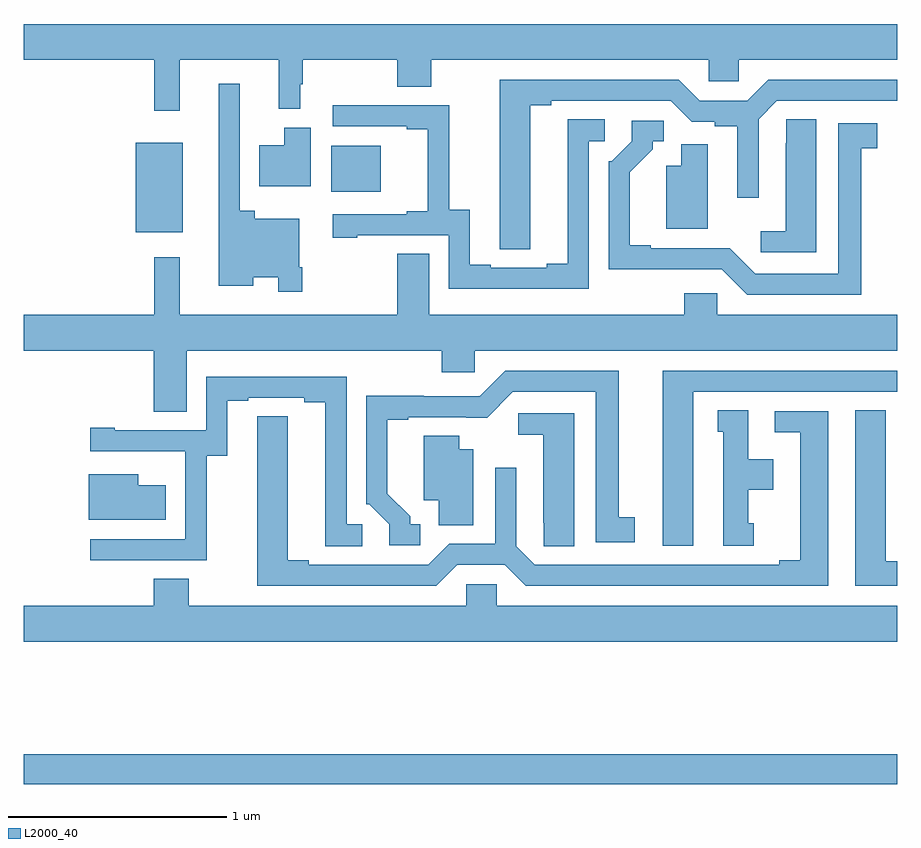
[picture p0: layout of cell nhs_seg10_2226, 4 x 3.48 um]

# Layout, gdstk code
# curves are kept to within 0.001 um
import gdstk
lib = gdstk.Library(unit=1e-6, precision=1e-09)
def R(c, l, rs):  # rectangles x0, y0, x1, y1
    for r in rs: c.add(gdstk.rectangle(r[:2], r[2:], *l))
def P(c, l, *ps):  # polygons
    for p in ps: c.add(gdstk.Polygon(p, *l))
L2000_40 = (2000, 40)

nhs_seg10_2226 = lib.new_cell('nhs_seg10_2226')
R(nhs_seg10_2226, L2000_40, [(229,1300.996,233,1301.132), (229.514,1303.523,229.729,1303.933), (230.408,1303.709,230.635,1303.918)])
P(nhs_seg10_2226, L2000_40, [(229.715,1304.312),(230.168,1304.312),(230.168,1304.087),(230.266,1304.087),(230.266,1304.2),(230.278,1304.2),(230.278,1304.312),(230.71,1304.312),(230.71,1304.188),(230.865,1304.188),(230.865,1304.312),(232.137,1304.312),(232.137,1304.214),(232.275,1304.214),(232.275,1304.312),(233,1304.312),(233,1304.476),(229,1304.476),(229,1304.312),(229.597,1304.312),(229.597,1304.079),(229.715,1304.079)],
  [(231.319,1304.104),(231.415,1304.104),(231.415,1304.124),(231.963,1304.124),(232.059,1304.028),(232.164,1304.028),(232.164,1304.008),(232.268,1304.008),(232.268,1303.68),(232.365,1303.68),(232.365,1304.04),(232.449,1304.124),(233,1304.124),(233,1304.22),(232.409,1304.22),(232.313,1304.124),(232.095,1304.124),(231.999,1304.22),(231.179,1304.22),(231.18,1303.444),(231.319,1303.444)],
  [(230.275,1303.363),(230.262,1303.363),(230.262,1303.585),(230.058,1303.585),(230.058,1303.621),(229.989,1303.621),(229.989,1304.203),(229.892,1304.203),(229.892,1303.277),(230.05,1303.277),(230.05,1303.316),(230.166,1303.316),(230.166,1303.251),(230.275,1303.251)],
  [(231.588,1303.938),(231.661,1303.938),(231.661,1304.039),(231.491,1304.039),(231.491,1303.379),(231.395,1303.379),(231.395,1303.359),(231.139,1303.359),(231.139,1303.374),(231.043,1303.374),(231.043,1303.625),(230.949,1303.625),(230.949,1304.103),(230.415,1304.103),(230.415,1304.007),(230.753,1304.007),(230.753,1303.995),(230.849,1303.995),(230.849,1303.618),(230.753,1303.618),(230.753,1303.605),(230.415,1303.605),(230.415,1303.497),(230.527,1303.497),(230.527,1303.509),(230.946,1303.509),(230.946,1303.263),(231.588,1303.263)],
  [(232.63,1304.039),(232.491,1304.039),(232.491,1303.931),(232.49,1303.931),(232.49,1303.528),(232.374,1303.528),(232.374,1303.431),(232.63,1303.431)],
  [(232.834,1303.906),(232.909,1303.906),(232.909,1304.022),(232.73,1304.022),(232.73,1303.332),(232.35,1303.332),(232.233,1303.449),(231.871,1303.449),(231.871,1303.462),(231.775,1303.462),(231.775,1303.798),(231.88,1303.903),(231.88,1303.938),(231.93,1303.938),(231.93,1304.034),(231.783,1304.034),(231.783,1303.938),(231.693,1303.848),(231.678,1303.848),(231.678,1303.352),(232.197,1303.353),(232.314,1303.236),(232.834,1303.236)],
  [(230.314,1304.002),(230.192,1304.002),(230.192,1303.921),(230.078,1303.921),(230.078,1303.733),(230.314,1303.733)],
  [(232.132,1303.926),(232.01,1303.926),(232.01,1303.828),(231.941,1303.828),(231.941,1303.538),(232.132,1303.538)],
  [(229.747,1302.98),(230.915,1302.98),(230.915,1302.882),(231.066,1302.882),(231.066,1302.98),(233,1302.98),(233,1303.144),(232.176,1303.144),(232.176,1303.242),(232.025,1303.242),(232.025,1303.144),(230.857,1303.144),(230.857,1303.424),(230.71,1303.424),(230.71,1303.144),(229.714,1303.144),(229.714,1303.408),(229.597,1303.408),(229.597,1303.144),(229,1303.144),(229,1302.98),(229.595,1302.98),(229.595,1302.7),(229.747,1302.7)],
  [(230.815,1302.186),(230.77,1302.186),(230.77,1302.221),(230.665,1302.326),(230.665,1302.663),(230.761,1302.663),(230.761,1302.675),(231.122,1302.674),(231.24,1302.792),(231.62,1302.792),(231.62,1302.102),(231.799,1302.102),(231.799,1302.218),(231.724,1302.218),(231.724,1302.888),(231.204,1302.888),(231.087,1302.771),(230.831,1302.771),(230.831,1302.773),(230.568,1302.773),(230.568,1302.276),(230.583,1302.276),(230.673,1302.186),(230.673,1302.09),(230.815,1302.09)],
  [(232.066,1302.792),(233,1302.792),(233,1302.888),(231.926,1302.888),(231.926,1302.087),(232.066,1302.087)],
  [(229.839,1302.499),(229.933,1302.499),(229.933,1302.75),(230.029,1302.75),(230.029,1302.765),(230.285,1302.765),(230.285,1302.745),(230.381,1302.745),(230.381,1302.085),(230.551,1302.085),(230.551,1302.186),(230.478,1302.186),(230.478,1302.861),(229.836,1302.861),(229.836,1302.615),(229.417,1302.615),(229.417,1302.628),(229.305,1302.628),(229.305,1302.519),(229.739,1302.519),(229.739,1302.518),(229.74,1302.518),(229.74,1302.117),(229.305,1302.117),(229.305,1302.021),(229.839,1302.021)],
  [(232.342,1302.189),(232.318,1302.189),(232.318,1302.344),(232.432,1302.344),(232.432,1302.484),(232.318,1302.484),(232.318,1302.707),(232.178,1302.707),(232.178,1302.609),(232.202,1302.609),(232.202,1302.087),(232.342,1302.087)],
  [(233,1302.015),(232.948,1302.015),(232.948,1302.707),(232.808,1302.707),(232.808,1301.904),(233,1301.904)],
  [(230.985,1302),(231.203,1302),(231.299,1301.904),(232.684,1301.904),(232.684,1302.702),(232.44,1302.702),(232.44,1302.606),(232.556,1302.606),(232.556,1302.02),(232.46,1302.02),(232.46,1302),(231.339,1302),(231.255,1302.084),(231.255,1302.445),(231.159,1302.445),(231.159,1302.096),(230.949,1302.096),(230.853,1302),(230.305,1302),(230.305,1302.02),(230.209,1302.02),(230.209,1302.68),(230.07,1302.68),(230.069,1301.904),(230.889,1301.904)],
  [(231.52,1302.693),(231.264,1302.693),(231.264,1302.596),(231.38,1302.596),(231.38,1302.193),(231.381,1302.193),(231.381,1302.085),(231.52,1302.085)],
  [(231.058,1302.529),(230.995,1302.529),(230.995,1302.59),(230.831,1302.59),(230.831,1302.296),(230.9,1302.296),(230.9,1302.181),(231.058,1302.181)],
  [(229.651,1302.364),(229.525,1302.364),(229.525,1302.415),(229.298,1302.415),(229.298,1302.206),(229.651,1302.206)],
  [(233,1301.812),(231.165,1301.812),(231.165,1301.91),(231.027,1301.91),(231.027,1301.812),(229.755,1301.812),(229.755,1301.936),(229.595,1301.936),(229.595,1301.812),(229,1301.812),(229,1301.648),(233,1301.648)])

lib.write_gds('nhs_seg10_2226.gds')
